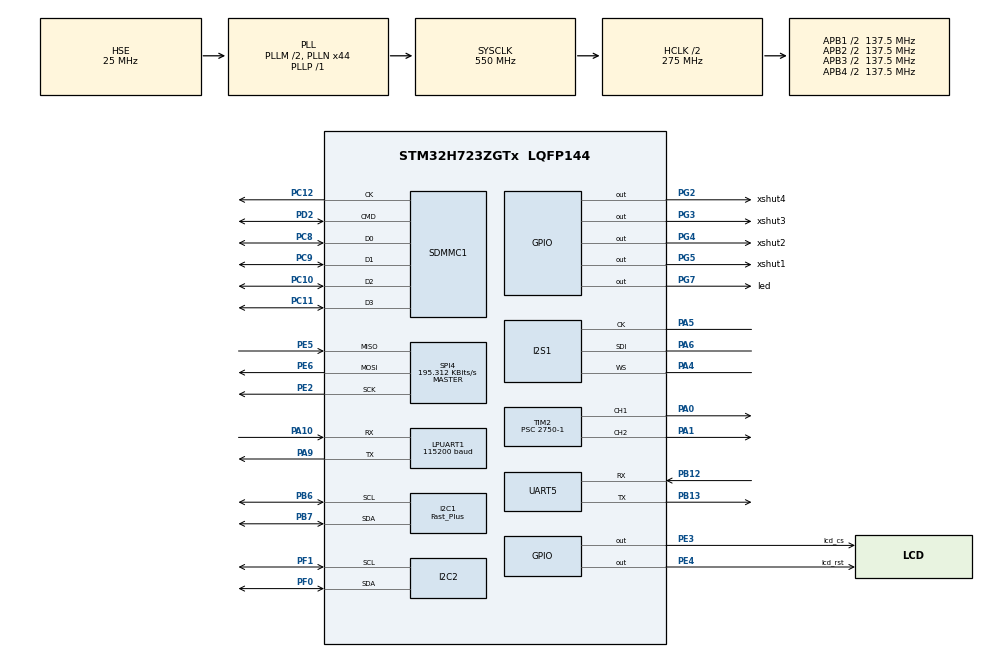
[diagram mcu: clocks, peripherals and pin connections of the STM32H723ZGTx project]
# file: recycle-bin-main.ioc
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CORTEX_M7.default_mode_Activation=1
Dma.Request0=SPI1_RX
Dma.SPI1_RX.0.Direction=DMA_PERIPH_TO_MEMORY
Dma.SPI1_RX.0.EventEnable=DISABLE
Dma.SPI1_RX.0.FIFOMode=DMA_FIFOMODE_DISABLE
Dma.SPI1_RX.0.Instance=DMA1_Stream0
Dma.SPI1_RX.0.MemDataAlignment=DMA_MDATAALIGN_BYTE
Dma.SPI1_RX.0.MemInc=DMA_MINC_ENABLE
Dma.SPI1_RX.0.Mode=DMA_CIRCULAR
Dma.SPI1_RX.0.PeriphDataAlignment=DMA_PDATAALIGN_BYTE
Dma.SPI1_RX.0.PeriphInc=DMA_PINC_DISABLE
Dma.SPI1_RX.0.Polarity=HAL_DMAMUX_REQ_GEN_RISING
Dma.SPI1_RX.0.Priority=DMA_PRIORITY_HIGH
Dma.SPI1_RX.0.RequestNumber=1
Dma.SPI1_RX.0.SignalID=NONE
Dma.SPI1_RX.0.SyncEnable=DISABLE
Dma.SPI1_RX.0.SyncPolarity=HAL_DMAMUX_SYNC_NO_EVENT
Dma.SPI1_RX.0.SyncRequestNumber=1
Dma.SPI1_RX.0.SyncSignalID=NONE
FATFS._LFN_UNICODE=0
FATFS._USE_LFN=0
I2C1.I2C_Speed_Mode=I2C_Fast_Plus
I2C1.Timing=0x00601A5C
I2C2.Timing=0x60404E72
I2S1.AudioFreq=I2S_AUDIOFREQ_44K
I2S1.CPOL=I2S_CPOL_HIGH
I2S1.DataFormat=I2S_DATAFORMAT_16B_EXTENDED
I2S1.ErrorAudioFreq=0.03 %
I2S1.Instance=SPI$Index
I2S1.RealAudioFreq=44.014 KHz
LPUART1.BaudRate=115200
Mcu.Family=STM32H7
Mcu.Name=STM32H723ZGTx
Mcu.Package=LQFP144
NVIC.DMA1_Stream0_IRQn=true\:0\:0\:false\:false\:true\:false\:true\:true
NVIC.PriorityGroup=NVIC_PRIORITYGROUP_4
NVIC.UART5_IRQn=true\:0\:0\:false\:false\:true\:true\:true\:true
PA0.Signal=S_TIM2_CH1_ETR
PA1.Signal=S_TIM2_CH2
PA10.Mode=Asynchronous
PA10.Signal=LPUART1_RX
PA4.Mode=Half_Duplex_Master_Rx
PA4.Signal=I2S1_WS
PA5.Mode=Half_Duplex_Master_Rx
PA5.Signal=I2S1_CK
PA6.Mode=Half_Duplex_Master_Rx
PA6.Signal=I2S1_SDI
PA9.Mode=Asynchronous
PA9.Signal=LPUART1_TX
PB12.Mode=Asynchronous
PB12.Signal=UART5_RX
PB13.Mode=Asynchronous
PB13.Signal=UART5_TX
PB6.Mode=I2C
PB6.Signal=I2C1_SCL
PB7.Mode=I2C
PB7.Signal=I2C1_SDA
PC10.Mode=SD_4_bits_Wide_bus
PC10.Signal=SDMMC1_D2
PC11.Mode=SD_4_bits_Wide_bus
PC11.Signal=SDMMC1_D3
PC12.Mode=SD_4_bits_Wide_bus
PC12.Signal=SDMMC1_CK
PC14-OSC32_IN.Mode=LSE-External-Oscillator
PC14-OSC32_IN.Signal=RCC_OSC32_IN
PC15-OSC32_OUT.Mode=LSE-External-Oscillator
PC15-OSC32_OUT.Signal=RCC_OSC32_OUT
PC8.Mode=SD_4_bits_Wide_bus
PC8.Signal=SDMMC1_D0
PC9.Mode=SD_4_bits_Wide_bus
PC9.Signal=SDMMC1_D1
PD2.Mode=SD_4_bits_Wide_bus
PD2.Signal=SDMMC1_CMD
PE2.Mode=Full_Duplex_Master
PE2.Signal=SPI4_SCK
PE3.GPIO_Label=lcd_cs
PE3.Signal=GPIO_Output
PE4.GPIO_Label=lcd_rst
PE4.Signal=GPIO_Output
PE5.Mode=Full_Duplex_Master
PE5.Signal=SPI4_MISO
PE6.Mode=Full_Duplex_Master
PE6.Signal=SPI4_MOSI
PF0.Mode=I2C
PF0.Signal=I2C2_SDA
PF1.Mode=I2C
PF1.Signal=I2C2_SCL
PG2.GPIO_Label=xshut4
PG2.Signal=GPIO_Output
PG3.GPIO_Label=xshut3
PG3.Signal=GPIO_Output
PG4.GPIO_Label=xshut2
PG4.Signal=GPIO_Output
PG5.GPIO_Label=xshut1
PG5.Signal=GPIO_Output
PG7.GPIO_Label=led
PG7.Signal=GPIO_Output
PH0-OSC_IN.Mode=HSE-External-Oscillator
PH0-OSC_IN.Signal=RCC_OSC_IN
PH1-OSC_OUT.Mode=HSE-External-Oscillator
PH1-OSC_OUT.Signal=RCC_OSC_OUT
ProjectManager.HeapSize=0x200
ProjectManager.StackSize=0x400
ProjectManager.TargetToolchain=STM32CubeIDE
RCC.ADCFreq_Value=200000000
RCC.APB1Freq_Value=137500000
RCC.APB2Freq_Value=137500000
RCC.APB3Freq_Value=137500000
RCC.APB4Freq_Value=137500000
RCC.CortexFreq_Value=550000000
RCC.D1PPRE=RCC_APB3_DIV2
RCC.D2PPRE1=RCC_APB1_DIV2
RCC.D2PPRE2=RCC_APB2_DIV2
RCC.D3PPRE=RCC_APB4_DIV2
RCC.DIVM1=2
RCC.DIVM2=2
RCC.DIVN1=44
RCC.DIVN2=16
RCC.DIVP1=1
RCC.DIVP2=1
RCC.DIVQ1=3
RCC.DIVQ2=10
RCC.HCLKFreq_Value=275000000
RCC.HPRE=RCC_HCLK_DIV2
RCC.PLL2FRACN=0
RCC.PLLFRACN=0
RCC.PLLSourceVirtual=RCC_PLLSOURCE_HSE
RCC.SPI123CLockSelection=RCC_SPI123CLKSOURCE_PLL2
RCC.SYSCLKFreq_VALUE=550000000
RCC.SYSCLKSource=RCC_SYSCLKSOURCE_PLLCLK
RCC.Spi45ClockSelection=RCC_SPI45CLKSOURCE_HSE
RCC.USBFreq_Value=183333333.33333334
SDMMC1.ClockDiv=10
SH.S_TIM2_CH1_ETR.0=TIM2_CH1,PWM Generation1 CH1
SH.S_TIM2_CH2.0=TIM2_CH2,PWM Generation2 CH2
SPI4.BaudRatePrescaler=SPI_BAUDRATEPRESCALER_128
SPI4.CalculateBaudRate=195.312 KBits/s
SPI4.DataSize=SPI_DATASIZE_8BIT
SPI4.Direction=SPI_DIRECTION_2LINES
SPI4.Mode=SPI_MODE_MASTER
SPI4.VirtualType=VM_MASTER
TIM2.Channel-PWM\ Generation1\ CH1=TIM_CHANNEL_1
TIM2.Channel-PWM\ Generation2\ CH2=TIM_CHANNEL_2
TIM2.Period=2000-1
TIM2.Prescaler=2750-1
VP_FATFS_VS_SDIO.Mode=SDIO
VP_MEMORYMAP_VS_MEMORYMAP.Mode=CurAppReg
VP_TIM2_VS_ClockSourceINT.Mode=Internal
board=custom

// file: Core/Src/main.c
/* USER CODE BEGIN Header */
/**
  ******************************************************************************
  * @file           : main.c
  * @brief          : Main program body
  ******************************************************************************
  * @attention
  *
  * Copyright (c) 2025 STMicroelectronics.
  * All rights reserved.
  *
  * This software is licensed under terms that can be found in the LICENSE file
  * in the root directory of this software component.
  * If no LICENSE file comes with this software, it is provided AS-IS.
  *
  ******************************************************************************
  */
/* USER CODE END Header */
#include "main.h"
#include "dma.h"
#include "fatfs.h"
#include "i2c.h"
#include "i2s.h"
#include "usart.h"
#include "memorymap.h"
#include "sdmmc.h"
#include "spi.h"
#include "tim.h"
#include "gpio.h"

/* USER CODE BEGIN Includes */
#include "vl53l0x.h"
#include <string.h>
#include <stdio.h>
#include "my_print.h"
#include "st7920.h"
#include "stm32h7xx_hal.h"
#include "servo.h"
#include "mic.h"
#include "esp32.h"
/* USER CODE END Includes */

/* USER CODE BEGIN PD */
/* USER CODE BEGIN PD */
#define SERVO_MIN_PULSE 500    // 0.5 ms
#define SERVO_MAX_PULSE 2500   // 2.5 ms
#define SERVO_FREQ 50          // 50 Hz (20 ms period)
/* USER CODE END PD */

void SystemClock_Config(void);
static void MPU_Config(void);

/* USER CODE BEGIN 0 */
uint16_t i2s_data[1000];
volatile int16_t sample_i2s;

void HAL_I2S_RxCpltCallback(I2S_HandleTypeDef *hi2s) {
  sample_i2s = i2s_data[0];
}

void start_mic_test() {
  HAL_I2S_Receive_DMA(&hi2s1, i2s_data, sizeof(i2s_data));
  //HAL_I2S_Receive_DMA(&hi2s1, (uint16_t *)i2s_data, sizeof(i2s_data));
}

void print_i2s_data() {
  my_printf("i2s_data: %d, %d, %d\r\n", i2s_data[499], i2s_data[500], i2s_data[501]);
}
/* USER CODE END 0 */

int main(void)
{

  /* MPU Configuration--------------------------------------------------------*/
  MPU_Config();

  /* MCU Configuration--------------------------------------------------------*/

  /* Reset of all peripherals, Initializes the Flash interface and the Systick. */
  HAL_Init();

  /* Configure the system clock */
  SystemClock_Config();

  /* Initialize all configured peripherals */
  MX_GPIO_Init();
  MX_DMA_Init();
  MX_I2C1_Init();
  MX_I2C2_Init();
  MX_LPUART1_UART_Init();
  MX_SDMMC1_SD_Init();
  MX_FATFS_Init();
  MX_SPI4_Init();
  MX_TIM2_Init();
  MX_I2S1_Init();
  MX_UART5_Init();
  /* USER CODE BEGIN 2 */
  /*
  HAL_TIM_PWM_Start(&htim2, TIM_CHANNEL_1);
  HAL_TIM_PWM_Start(&htim2, TIM_CHANNEL_2);

  HAL_Delay(2000);
  sd_init();
  st7920_init();
  st7920_clear();
  st7920_print(1, 1, "ESP-IDF is the development framework for Espressif SoCs supported on Windows, Linux and macOS. ESP-IDF Release Support Schedule");
  st7920_sendBuffer();

  char msg[30] = "hello world\r\n";
  HAL_UART_Transmit(&hlpuart1, msg, strlen(msg), 100);

  if (vl53l0x_init()) {
    sprintf(msg, "init success");
    HAL_UART_Transmit(&hlpuart1, msg, strlen(msg), 100);
  } else {
    sprintf(msg, "init failed");
    HAL_UART_Transmit(&hlpuart1, msg, strlen(msg), 100);

  }

  servo360_init();
  set_servo_speed(150);
  uint16_t range = 0;
  my_printf("current audio number: %d\r\n", get_next_audio_filename());
  list_directory("", 0);
  get_next_audio_filename();
*/
  start_mic_test();
  /* USER CODE END 2 */

  /* Infinite loop */
  /* USER CODE BEGIN WHILE */
  while (1)
  {
    //st7920_clear();
    /*
    for (vl53l0x_idx_t idx = VL53L0X_IDX_FIRST; idx <= VL53L0X_IDX_FOURTH; idx++) {
      if (!vl53l0x_read_range_single(idx, &range)) {
        my_printf("read failed device: %d", idx);
      }
      sprintf(msg, "dev: %d, range: %d\r\n", idx, range);
      st7920_print(1, idx * 8, msg);
      HAL_UART_Transmit(&hlpuart1, msg, strlen(msg), 100);
    }

    st7920_sendBuffer();
    set_servo_speed(150);
    send_at_command("AT+GET=USERNAME");
    receive_response();
    send_at_command("AT+GET=USER_ID");
    receive_response();
    */
    print_i2s_data();
    HAL_Delay(1000);

    /* USER CODE END WHILE */

  }
}

void SystemClock_Config(void)
{
  RCC_OscInitTypeDef RCC_OscInitStruct = {0};
  RCC_ClkInitTypeDef RCC_ClkInitStruct = {0};

  /** Supply configuration update enable
  */
  HAL_PWREx_ConfigSupply(PWR_LDO_SUPPLY);

  /** Configure the main internal regulator output voltage
  */
  __HAL_PWR_VOLTAGESCALING_CONFIG(PWR_REGULATOR_VOLTAGE_SCALE0);

  while(!__HAL_PWR_GET_FLAG(PWR_FLAG_VOSRDY)) {}

  /** Initializes the RCC Oscillators according to the specified parameters
  * in the RCC_OscInitTypeDef structure.
  */
  RCC_OscInitStruct.OscillatorType = RCC_OSCILLATORTYPE_HSE;
  RCC_OscInitStruct.HSEState = RCC_HSE_ON;
  RCC_OscInitStruct.PLL.PLLState = RCC_PLL_ON;
  RCC_OscInitStruct.PLL.PLLSource = RCC_PLLSOURCE_HSE;
  RCC_OscInitStruct.PLL.PLLM = 2;
  RCC_OscInitStruct.PLL.PLLN = 44;
  RCC_OscInitStruct.PLL.PLLP = 1;
  RCC_OscInitStruct.PLL.PLLQ = 3;
  RCC_OscInitStruct.PLL.PLLR = 2;
  RCC_OscInitStruct.PLL.PLLRGE = RCC_PLL1VCIRANGE_3;
  RCC_OscInitStruct.PLL.PLLVCOSEL = RCC_PLL1VCOWIDE;
  RCC_OscInitStruct.PLL.PLLFRACN = 0;
  if (HAL_RCC_OscConfig(&RCC_OscInitStruct) != HAL_OK)
  {
    Error_Handler();
  }

  /** Initializes the CPU, AHB and APB buses clocks
  */
  RCC_ClkInitStruct.ClockType = RCC_CLOCKTYPE_HCLK|RCC_CLOCKTYPE_SYSCLK
                              |RCC_CLOCKTYPE_PCLK1|RCC_CLOCKTYPE_PCLK2
                              |RCC_CLOCKTYPE_D3PCLK1|RCC_CLOCKTYPE_D1PCLK1;
  RCC_ClkInitStruct.SYSCLKSource = RCC_SYSCLKSOURCE_PLLCLK;
  RCC_ClkInitStruct.SYSCLKDivider = RCC_SYSCLK_DIV1;
  RCC_ClkInitStruct.AHBCLKDivider = RCC_HCLK_DIV2;
  RCC_ClkInitStruct.APB3CLKDivider = RCC_APB3_DIV2;
  RCC_ClkInitStruct.APB1CLKDivider = RCC_APB1_DIV2;
  RCC_ClkInitStruct.APB2CLKDivider = RCC_APB2_DIV2;
  RCC_ClkInitStruct.APB4CLKDivider = RCC_APB4_DIV2;

  if (HAL_RCC_ClockConfig(&RCC_ClkInitStruct, FLASH_LATENCY_3) != HAL_OK)
  {
    Error_Handler();
  }
}

 /* MPU Configuration */

void MPU_Config(void)
{
  MPU_Region_InitTypeDef MPU_InitStruct = {0};

  /* Disables the MPU */
  HAL_MPU_Disable();

  /** Initializes and configures the Region and the memory to be protected
  */
  MPU_InitStruct.Enable = MPU_REGION_ENABLE;
  MPU_InitStruct.Number = MPU_REGION_NUMBER0;
  MPU_InitStruct.BaseAddress = 0x0;
  MPU_InitStruct.Size = MPU_REGION_SIZE_4GB;
  MPU_InitStruct.SubRegionDisable = 0x87;
  MPU_InitStruct.TypeExtField = MPU_TEX_LEVEL0;
  MPU_InitStruct.AccessPermission = MPU_REGION_NO_ACCESS;
  MPU_InitStruct.DisableExec = MPU_INSTRUCTION_ACCESS_DISABLE;
  MPU_InitStruct.IsShareable = MPU_ACCESS_SHAREABLE;
  MPU_InitStruct.IsCacheable = MPU_ACCESS_NOT_CACHEABLE;
  MPU_InitStruct.IsBufferable = MPU_ACCESS_NOT_BUFFERABLE;

  HAL_MPU_ConfigRegion(&MPU_InitStruct);
  /* Enables the MPU */
  HAL_MPU_Enable(MPU_PRIVILEGED_DEFAULT);

}

void Error_Handler(void)
{
  __disable_irq();
  while (1)
  {
  }
}
